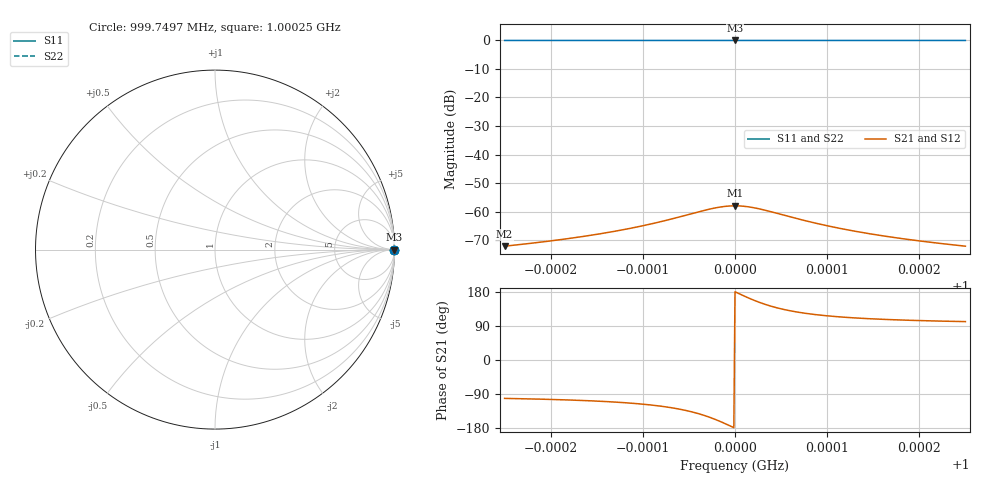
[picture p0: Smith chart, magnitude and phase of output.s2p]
! Touchstone file generated by MATLAB
! b1 = 0.000631
! b2 = 0.000631
! Q0 = 10000.000000
! f0 = 1000000000.000000
! n = 401
! rel_span = 5.000000
# Hz S RI R 50
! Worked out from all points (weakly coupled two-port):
!   401 points, 999.7497 MHz to 1.00025 GHz, reference 50 ohm
!   highest |S21| = -57.99 dB at 1 GHz (marker M1); lowest = -72.1 dB at 999.7497 MHz (marker M2)
!   lowest |S11| = 0.0 dB at 1 GHz (marker M3)
!   |S11| at or under -10 dB: nowhere
!   |S22| runs from 0.0 to 0.0 dB; largest |S21 - S12| = 0
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9.9974968e8  1 -0.000242  -4.85e-05 -0.000242  -4.85e-05 -0.000242  1 -0.000242
9.9979224e8  0.9999 -0.000287  -6.91e-05 -0.000287  -6.91e-05 -0.000287  0.9999 -0.000287
9.9983354e8  0.9999 -0.000348  -0.000105 -0.000348  -0.000105 -0.000348  0.9999 -0.000348
9.9985607e8  0.9999 -0.000391  -0.000136 -0.000391  -0.000136 -0.000391  0.9999 -0.000391
9.9987735e8  0.9998 -0.000441  -0.00018 -0.000441  -0.00018 -0.000441  0.9998 -0.000441
9.9989737e8  0.9998 -0.000497  -0.000242 -0.000497  -0.000242 -0.000497  0.9998 -0.000497
9.999174e8  0.9997 -0.000559  -0.000339 -0.000559  -0.000339 -0.000559  0.9997 -0.000559
9.999637e8  0.9992 -0.000599  -0.000826 -0.000599  -0.000826 -0.000599  0.9992 -0.000599
9.9997497e8  0.999 -0.000504  -0.00101 -0.000504  -0.00101 -0.000504  0.999 -0.000504
9.9998874e8  0.9988 -0.00027  -0.0012 -0.00027  -0.0012 -0.00027  0.9988 -0.00027
1e9  0.9987 0  -0.00126 0  -0.00126 0  0.9987 0
1.0000113e9  0.9988 0.00027  -0.0012 0.00027  -0.0012 0.00027  0.9988 0.00027
1.000025e9  0.999 0.000504  -0.00101 0.000504  -0.00101 0.000504  0.999 0.000504
1.0000363e9  0.9992 0.000599  -0.000826 0.000599  -0.000826 0.000599  0.9992 0.000599
1.0000663e9  0.9995 0.000606  -0.000457 0.000606  -0.000457 0.000606  0.9995 0.000606
1.0000839e9  0.9997 0.000555  -0.000331 0.000555  -0.000331 0.000555  0.9997 0.000555
1.0001039e9  0.9998 0.000493  -0.000238 0.000493  -0.000238 0.000493  0.9998 0.000493
1.0001239e9  0.9998 0.000438  -0.000177 0.000438  -0.000177 0.000438  0.9998 0.000438
1.0001452e9  0.9999 0.000388  -0.000134 0.000388  -0.000134 0.000388  0.9999 0.000388
1.0001677e9  0.9999 0.000345  -0.000103 0.000345  -0.000103 0.000345  0.9999 0.000345
1.000209e9  0.9999 0.000286  -6.84e-05 0.000286  -6.84e-05 0.000286  0.9999 0.000286
1.0002503e9  1 0.000242  -4.85e-05 0.000242  -4.85e-05 0.000242  1 0.000242
